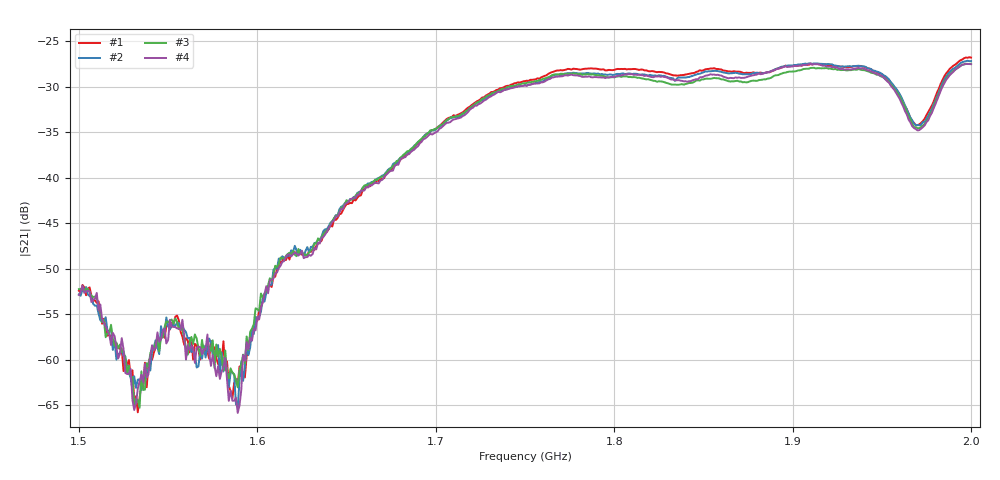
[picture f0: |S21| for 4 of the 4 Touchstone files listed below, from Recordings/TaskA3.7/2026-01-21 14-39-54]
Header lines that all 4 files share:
! NanoVNA-App by SYSJOINT et al v1.1.209 (+OD18)
! Start: 1,5GHz Stop: 2GHz Points: 501
! S-Parameter data: F S11 S21 S12 S22
# Hz S RI R 50
!  Frequency  S11_Real  S11_Imag  S21_Real  S21_Imag  S12_Real  S12_Imag  S22_Real  S22_Imag
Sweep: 1.5 GHz to 2 GHz
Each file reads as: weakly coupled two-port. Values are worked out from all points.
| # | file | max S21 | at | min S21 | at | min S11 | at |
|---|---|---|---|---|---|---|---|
| 1 | 0.s2p | -26.73 dB | 1.999 GHz | -65.7 dB | 1.533 GHz | -30.5 dB | 1.817 GHz |
| 2 | 1.s2p | -27.12 dB | 1.998 GHz | -65.2 dB | 1.589 GHz | -30.5 dB | 1.817 GHz |
| 3 | 2.s2p | -27.45 dB | 2 GHz | -65.3 dB | 1.534 GHz | -30.5 dB | 1.817 GHz |
| 4 | 3.s2p | -27.42 dB | 1.91 GHz | -65.8 dB | 1.589 GHz | -29.6 dB | 1.817 GHz |
